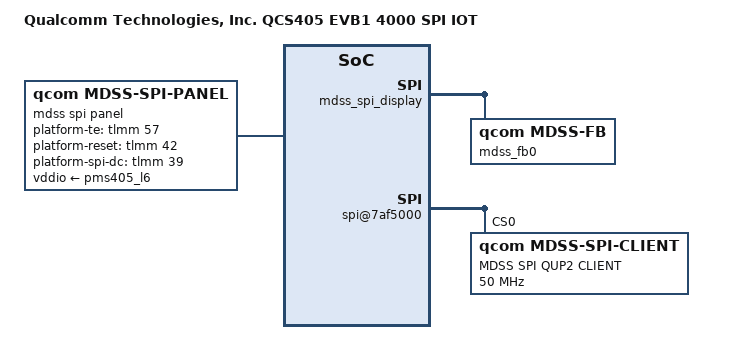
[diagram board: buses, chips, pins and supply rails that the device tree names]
/*
 * Copyright (c) 2018, The Linux Foundation. All rights reserved.
 *
 * This program is free software; you can redistribute it and/or modify
 * it under the terms of the GNU General Public License version 2 and
 * only version 2 as published by the Free Software Foundation.
 *
 * This program is distributed in the hope that it will be useful,
 * but WITHOUT ANY WARRANTY; without even the implied warranty of
 * MERCHANTABILITY or FITNESS FOR A PARTICULAR PURPOSE.  See the
 * GNU General Public License for more details.
 */

/dts-v1/;

#include "qcs405.dtsi"
#include "qcs405-audio-overlay.dtsi"
#include "qcs405-geni-ir-overlay.dtsi"
#include "qcs405-circular-pca9956.dtsi"

/ {
	model = "Qualcomm Technologies, Inc. QCS405 EVB1 4000 SPI IOT";
	compatible = "qcom,qcs405-iot", "qcom,qcs405", "qcom,iot";
	qcom,board-id = <0x010020 0x1>;
};

&gdsc_mdss {
	status = "disabled";
};

&clock_gcc_mdss {
	status = "disabled";
};

&mdss_mdp {
	status = "disabled";
	/delete-node/ qcom,mdss_fb_primary;
};

&mdss_dsi {
	status = "disabled";
};

&mdss_dsi0 {
	status = "disabled";
};

&soc {
	qcom,mdss_wb_panel {
		status = "disabled";
	};
};

&mdss_dsi0_pll {
	status = "disabled";
};

&mdss_dsi1_pll {
	status = "disabled";
};

&soc {
	mdss_spi_display: qcom,mdss_spi_display {
		compatible = "qcom,mdss-spi-display";
		label = "mdss spi display";

		mdss_fb0: qcom,mdss_fb_primary {
			cell-index = <0>;
			compatible = "qcom,mdss-fb";
		};
	};
};

#include "spi-panel-st7789v2-qvga-cmd.dtsi"

&soc {
	mdss_spi_panel: qcom,mdss_spi_panel {
		compatible = "qcom,mdss-spi-panel";
		label = "mdss spi panel";
		qcom,spi-pref-prim-pan = <&spi_st7789v2_qvga_cmd>;
		qcom,mdss-spi = <&mdss_spi_display>;
		qcom,mdss-fb-map = <&mdss_fb0>;
	};

	spi@7af5000 {  /* BLSP1 QUP2 */
		status = "ok";
		mdss_spi_client: qcom,mdss_spi_client {
			reg = <0>;
			compatible = "qcom,mdss-spi-client";
			label = "MDSS SPI QUP2 CLIENT";
			spi-max-frequency = <50000000>;
		};
	};
};

&mdss_te_active {
	mux {
		pins = "gpio57";
		function = "gpio";
	};
	config {
		pins = "gpio57";
		drive-strength = <2>; /* 2 mA */
		bias-pull-down; /* pull down*/
	};
};

&mdss_te_suspend {
	mux {
		pins = "gpio57";
		function = "gpio";
	};
	config {
		pins = "gpio57";
		drive-strength = <2>; /* 2 mA */
		bias-pull-down; /* pull down*/
	};
};

&pmx_mdss{
	mdss_spi_panel_active: mdss_spi_panel_active {
		mux {
			pins = "gpio39", "gpio42";
			drive-strength = <8>; /* 8 mA */
			bias-disable = <0>; /* no pull */
			output-high;
		};
	};

	mdss_spi_panel_suspend: mdss_spi_panel_suspend {
		mux {
			pins = "gpio39", "gpio42";
			drive-strength = <2>; /* 2 mA */
			bias-pull-down; /* pull down */
			input-enable;
		};
	};
};

&mdss_spi_panel {
	pinctrl-names = "mdss_default", "mdss_sleep";
	pinctrl-0 = <&mdss_te_active &mdss_spi_panel_active>;
	pinctrl-1 = <&mdss_te_suspend &mdss_spi_panel_suspend>;

	qcom,platform-te-gpio = <&tlmm 57 0>;
	qcom,platform-reset-gpio = <&tlmm 42 0>;
	qcom,platform-spi-dc-gpio = <&tlmm 39 0>;

	vddio-supply = <&pms405_l6>;

	qcom,panel-supply-entries {
		#address-cells = <1>;
		#size-cells = <0>;
		qcom,panel-supply-entry@0 {
			reg = <0>;
			qcom,supply-name = "vdd";
			qcom,supply-min-voltage = <2800000>;
			qcom,supply-max-voltage = <2800000>;
			qcom,supply-enable-load = <100000>;
			qcom,supply-disable-load = <100>;
		};

		qcom,panel-supply-entry@1 {
			reg = <1>;
			qcom,supply-name = "vddio";
			qcom,supply-min-voltage = <1800000>;
			qcom,supply-max-voltage = <1800000>;
			qcom,supply-enable-load = <100000>;
			qcom,supply-disable-load = <100>;
		};
	};
};
